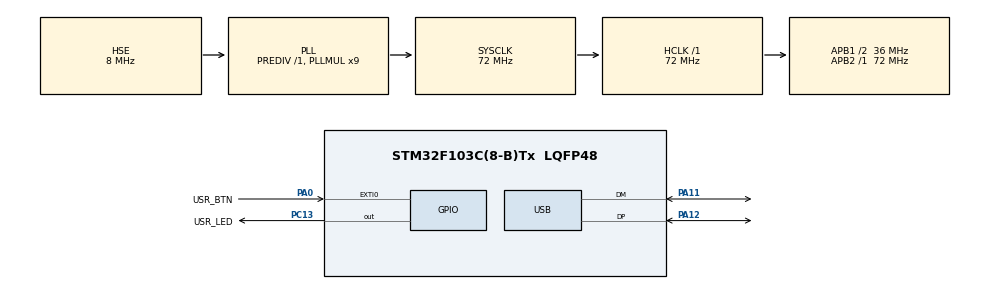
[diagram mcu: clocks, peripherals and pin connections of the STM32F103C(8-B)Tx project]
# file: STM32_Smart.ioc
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Mcu.Family=STM32F1
Mcu.Name=STM32F103C(8-B)Tx
Mcu.Package=LQFP48
NVIC.EXTI0_IRQn=true\:0\:0\:false\:false\:true\:true\:true
NVIC.PriorityGroup=NVIC_PRIORITYGROUP_4
NVIC.USB_LP_CAN1_RX0_IRQn=true\:0\:0\:false\:false\:true\:false\:true
PA0-WKUP.GPIO_Label=USR_BTN
PA0-WKUP.GPIO_ModeDefaultEXTI=GPIO_MODE_IT_FALLING
PA0-WKUP.GPIO_PuPd=GPIO_PULLUP
PA0-WKUP.Signal=GPXTI0
PA11.Mode=Device
PA11.Signal=USB_DM
PA12.Mode=Device
PA12.Signal=USB_DP
PA13.Mode=Serial_Wire
PA13.Signal=SYS_JTMS-SWDIO
PA14.Mode=Serial_Wire
PA14.Signal=SYS_JTCK-SWCLK
PC13-TAMPER-RTC.GPIO_Label=USR_LED
PC13-TAMPER-RTC.PinState=GPIO_PIN_SET
PC13-TAMPER-RTC.Signal=GPIO_Output
PC14-OSC32_IN.Mode=LSE-External-Oscillator
PC14-OSC32_IN.Signal=RCC_OSC32_IN
PC15-OSC32_OUT.Mode=LSE-External-Oscillator
PC15-OSC32_OUT.Signal=RCC_OSC32_OUT
PD0-OSC_IN.Mode=HSE-External-Oscillator
PD0-OSC_IN.Signal=RCC_OSC_IN
PD1-OSC_OUT.Mode=HSE-External-Oscillator
PD1-OSC_OUT.Signal=RCC_OSC_OUT
ProjectManager.HeapSize=0x200
ProjectManager.StackSize=0x400
ProjectManager.TargetToolchain=STM32CubeIDE
RCC.AHBFreq_Value=72000000
RCC.APB1CLKDivider=RCC_HCLK_DIV2
RCC.APB1Freq_Value=36000000
RCC.APB1TimFreq_Value=72000000
RCC.APB2Freq_Value=72000000
RCC.APB2TimFreq_Value=72000000
RCC.HCLKFreq_Value=72000000
RCC.PLLMUL=RCC_PLL_MUL9
RCC.SYSCLKFreq_VALUE=72000000
RCC.SYSCLKSource=RCC_SYSCLKSOURCE_PLLCLK
RCC.USBFreq_Value=48000000
RCC.USBPrescaler=RCC_USBCLKSOURCE_PLL_DIV1_5
USB_DEVICE.APP_RX_DATA_SIZE=256
USB_DEVICE.APP_TX_DATA_SIZE=256
USB_DEVICE.CLASS_NAME_FS=CDC
USB_DEVICE.MANUFACTURER_STRING=D-design.,Co.Ltd.
USB_DEVICE.PRODUCT_STRING_CDC_FS=D-design DEV
USB_DEVICE.VirtualMode=Cdc
USB_DEVICE.VirtualModeFS=Cdc_FS
VP_USB_DEVICE_VS_USB_DEVICE_CDC_FS.Mode=CDC_FS
board=custom

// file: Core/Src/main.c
/* USER CODE BEGIN Header */
/**
  ******************************************************************************
  * @file           : main.c
  * @brief          : Main program body
  ******************************************************************************
  * @attention
  *
  * <h2><center>&copy; Copyright (c) 2020 STMicroelectronics.
  * All rights reserved.</center></h2>
  *
  * This software component is licensed by ST under BSD 3-Clause license,
  * the "License"; You may not use this file except in compliance with the
  * License. You may obtain a copy of the License at:
  *                        opensource.org/licenses/BSD-3-Clause
  *
  ******************************************************************************
  */
/* USER CODE END Header */
#include "main.h"
#include "usb_device.h"

/* USER CODE BEGIN Includes */
#include "usbd_cdc_if.h"
#include "common.h"
/* USER CODE END Includes */

/* USER CODE BEGIN PV */
static const char *p_boardinfo_buf = "STM32 DevelopmentBoard SampleApp\r\n";
static const char *p_buildinfo_buf = "Ver1.0(2020.12.21 Build)\r\n";
static const char *p_copyright_buf = "Copyright 2020 D-design.,Co.Ltd.\r\n";

static const char *p_irq0_msg_buf = "USR_BTN was ON ... LED Toggle\r\n";
/* USER CODE END PV */

void SystemClock_Config(void);
static void MX_GPIO_Init(void);
/* USER CODE BEGIN PFP */
// Board OP MSG
static void opmsg_func(void);
/* USER CODE END PFP */

int main(void)
{

  /* MCU Configuration--------------------------------------------------------*/

  /* Reset of all peripherals, Initializes the Flash interface and the Systick. */
  HAL_Init();

  /* Configure the system clock */
  SystemClock_Config();

  /* Initialize all configured peripherals */
  MX_GPIO_Init();
  MX_USB_DEVICE_Init();
  /* USER CODE BEGIN 2 */
  // Wait H/W Init
  HAL_Delay(1000);
  // OP MSG
  opmsg_func();
  /* USER CODE END 2 */

  /* Infinite loop */
  while (1)
  {

    /* USER CODE BEGIN 3 */
	if(g_irq_f != FALSE)
	{
	    CDC_Transmit_FS((uint8_t *)p_irq0_msg_buf, strlen(p_irq0_msg_buf));
	    HAL_Delay(100);

	    g_irq_f = FALSE;
	}
  }
  /* USER CODE END 3 */
}

void SystemClock_Config(void)
{
  RCC_OscInitTypeDef RCC_OscInitStruct = {0};
  RCC_ClkInitTypeDef RCC_ClkInitStruct = {0};
  RCC_PeriphCLKInitTypeDef PeriphClkInit = {0};

  /** Initializes the RCC Oscillators according to the specified parameters
  * in the RCC_OscInitTypeDef structure.
  */
  RCC_OscInitStruct.OscillatorType = RCC_OSCILLATORTYPE_HSE;
  RCC_OscInitStruct.HSEState = RCC_HSE_ON;
  RCC_OscInitStruct.HSEPredivValue = RCC_HSE_PREDIV_DIV1;
  RCC_OscInitStruct.HSIState = RCC_HSI_ON;
  RCC_OscInitStruct.PLL.PLLState = RCC_PLL_ON;
  RCC_OscInitStruct.PLL.PLLSource = RCC_PLLSOURCE_HSE;
  RCC_OscInitStruct.PLL.PLLMUL = RCC_PLL_MUL9;
  if (HAL_RCC_OscConfig(&RCC_OscInitStruct) != HAL_OK)
  {
    Error_Handler();
  }
  /** Initializes the CPU, AHB and APB buses clocks
  */
  RCC_ClkInitStruct.ClockType = RCC_CLOCKTYPE_HCLK|RCC_CLOCKTYPE_SYSCLK
                              |RCC_CLOCKTYPE_PCLK1|RCC_CLOCKTYPE_PCLK2;
  RCC_ClkInitStruct.SYSCLKSource = RCC_SYSCLKSOURCE_PLLCLK;
  RCC_ClkInitStruct.AHBCLKDivider = RCC_SYSCLK_DIV1;
  RCC_ClkInitStruct.APB1CLKDivider = RCC_HCLK_DIV2;
  RCC_ClkInitStruct.APB2CLKDivider = RCC_HCLK_DIV1;

  if (HAL_RCC_ClockConfig(&RCC_ClkInitStruct, FLASH_LATENCY_2) != HAL_OK)
  {
    Error_Handler();
  }
  PeriphClkInit.PeriphClockSelection = RCC_PERIPHCLK_USB;
  PeriphClkInit.UsbClockSelection = RCC_USBCLKSOURCE_PLL_DIV1_5;
  if (HAL_RCCEx_PeriphCLKConfig(&PeriphClkInit) != HAL_OK)
  {
    Error_Handler();
  }
}

static void MX_GPIO_Init(void)
{
  GPIO_InitTypeDef GPIO_InitStruct = {0};

  /* GPIO Ports Clock Enable */
  __HAL_RCC_GPIOC_CLK_ENABLE();
  __HAL_RCC_GPIOD_CLK_ENABLE();
  __HAL_RCC_GPIOA_CLK_ENABLE();

  /*Configure GPIO pin Output Level */
  HAL_GPIO_WritePin(USR_LED_GPIO_Port, USR_LED_Pin, GPIO_PIN_SET);

  /*Configure GPIO pin : USR_LED_Pin */
  GPIO_InitStruct.Pin = USR_LED_Pin;
  GPIO_InitStruct.Mode = GPIO_MODE_OUTPUT_PP;
  GPIO_InitStruct.Pull = GPIO_NOPULL;
  GPIO_InitStruct.Speed = GPIO_SPEED_FREQ_LOW;
  HAL_GPIO_Init(USR_LED_GPIO_Port, &GPIO_InitStruct);

  /*Configure GPIO pin : USR_BTN_Pin */
  GPIO_InitStruct.Pin = USR_BTN_Pin;
  GPIO_InitStruct.Mode = GPIO_MODE_IT_FALLING;
  GPIO_InitStruct.Pull = GPIO_PULLUP;
  HAL_GPIO_Init(USR_BTN_GPIO_Port, &GPIO_InitStruct);

  /* EXTI interrupt init*/
  HAL_NVIC_SetPriority(EXTI0_IRQn, 0, 0);
  HAL_NVIC_EnableIRQ(EXTI0_IRQn);

}

/* USER CODE BEGIN 4 */
/**
 * @brief  Board OP MSG
 * @retval None
 */
static void opmsg_func(void)
{
	// board MSG
    CDC_Transmit_FS((uint8_t *)p_boardinfo_buf, strlen(p_boardinfo_buf));
    HAL_Delay(100);

    // Borad F/W MSG
    CDC_Transmit_FS((uint8_t *)p_buildinfo_buf, strlen(p_buildinfo_buf));
    HAL_Delay(100);

    // Copyright MSG
    CDC_Transmit_FS((uint8_t *)p_copyright_buf, strlen(p_copyright_buf));
    HAL_Delay(100);
}
/* USER CODE END 4 */

void Error_Handler(void)
{
  __disable_irq();
  while (1)
  {
  }
}

/************************ (C) COPYRIGHT STMicroelectronics *****END OF FILE****/
